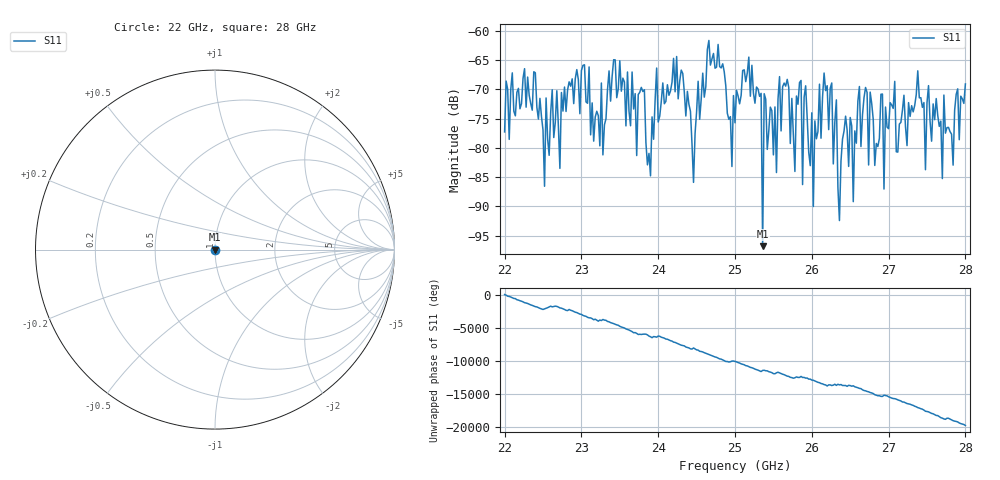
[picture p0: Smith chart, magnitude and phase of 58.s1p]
#  HZ  S  RI  R  50.00
! Rohde & Schwarz ZVA40 4Ports - Version 3.90 - 1145.1110k42 SN: 100403
! Date: 2023-10-04 09:01:50
! Measurement: S12
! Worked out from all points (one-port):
!   301 points, 22 GHz to 28 GHz, reference 50 ohm
!   lowest |S11| = -96.8 dB at 25.36 GHz (marker M1), VSWR 1.00, Z = 50 + j0.000936 ohm
!   |S11| at or under -10 dB: start of sweep to end of sweep
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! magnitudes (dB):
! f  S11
! 22 GHz  -77.3
! 22.1 GHz  -67.2
! 22.76 GHz  -73.7
! 23.1 GHz  -66.2
! 23.12 GHz  -77.8
! 23.24 GHz  -79.7
! 23.26 GHz  -68.9
! 23.28 GHz  -81.2
! 23.5 GHz  -65.1
! 23.72 GHz  -81.3
! 23.78 GHz  -69.7
! 23.94 GHz  -78.5
! 23.98 GHz  -66.4
! 24.26 GHz  -71.6
! 24.46 GHz  -85.9
! 24.66 GHz  -61.7
! 25 GHz  -75.7
! 25.18 GHz  -64.5
! 25.36 GHz  -96.8
! 25.38 GHz  -70.8
! 25.54 GHz  -84.2
! 25.58 GHz  -67.8
! 25.76 GHz  -77.9
! 26.16 GHz  -67.2
! 26.5 GHz  -74.8
! 27.26 GHz  -72.3
! 27.84 GHz  -82.9
! 28 GHz  -69.1
